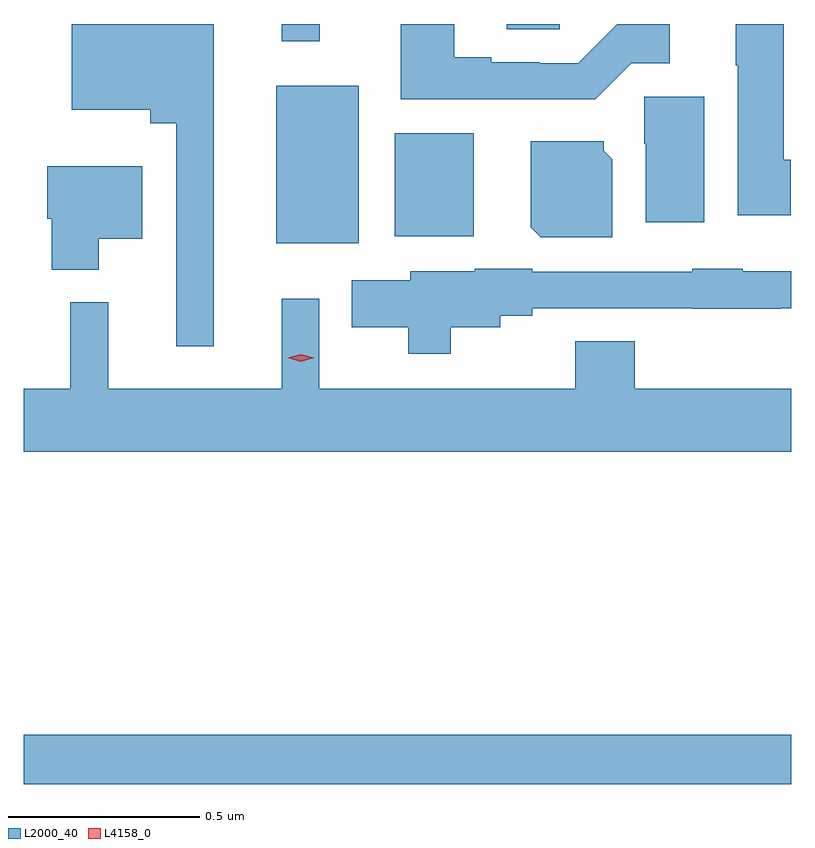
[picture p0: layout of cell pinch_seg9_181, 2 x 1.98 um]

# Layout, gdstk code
import gdstk
lib = gdstk.Library(unit=1e-6, precision=1e-09)
def R(c, l, rs):  # rectangles x0, y0, x1, y1
    for r in rs: c.add(gdstk.rectangle(r[:2], r[2:], *l))
def P(c, l, *ps):  # polygons
    for p in ps: c.add(gdstk.Polygon(p, *l))
L2000_40 = (2000, 40)
L4158_0 = (4158, 0)

pinch_seg9_181 = lib.new_cell('pinch_seg9_181')
R(pinch_seg9_181, L2000_40, [(793.321,1212.87,795.321,1212.998), (793.979,1214.279,794.194,1214.689), (794.288,1214.297,794.494,1214.566), (793.994,1214.805,794.093,1214.85), (794.579,1214.836,794.718,1214.85)])
P(pinch_seg9_181, L2000_40, [(793.816,1214.85),(793.446,1214.85),(793.446,1214.627),(793.651,1214.627),(793.651,1214.591),(793.719,1214.591),(793.719,1214.01),(793.816,1214.01)],
  [(794.904,1214.748),(795.004,1214.748),(795.004,1214.85),(794.868,1214.85),(794.766,1214.748),(794.666,1214.748),(794.666,1214.751),(794.539,1214.751),(794.539,1214.764),(794.443,1214.764),(794.443,1214.85),(794.303,1214.85),(794.303,1214.654),(794.81,1214.654)],
  [(795.319,1214.496),(795.301,1214.496),(795.301,1214.85),(795.176,1214.85),(795.176,1214.742),(795.182,1214.742),(795.182,1214.352),(795.319,1214.352)],
  [(795.094,1214.661),(794.938,1214.661),(794.938,1214.538),(794.942,1214.538),(794.942,1214.334),(795.094,1214.334)],
  [(794.854,1214.498),(794.832,1214.52),(794.832,1214.545),(794.642,1214.545),(794.642,1214.32),(794.668,1214.294),(794.854,1214.294)],
  [(793.516,1214.291),(793.63,1214.291),(793.63,1214.479),(793.382,1214.479),(793.382,1214.343),(793.394,1214.343),(793.394,1214.21),(793.516,1214.21)],
  [(794.434,1214.06),(794.563,1214.06),(794.563,1214.09),(794.646,1214.09),(794.646,1214.109),(795.063,1214.109),(795.063,1214.108),(795.295,1214.108),(795.295,1214.109),(795.321,1214.109),(795.321,1214.206),(795.195,1214.206),(795.195,1214.212),(795.063,1214.212),(795.063,1214.205),(794.646,1214.205),(794.646,1214.212),(794.496,1214.212),(794.496,1214.206),(794.328,1214.206),(794.328,1214.182),(794.176,1214.182),(794.176,1214.06),(794.323,1214.06),(794.323,1213.991),(794.434,1213.991)],
  [(795.321,1213.9),(794.913,1213.9),(794.913,1214.024),(794.758,1214.024),(794.758,1213.9),(794.091,1213.9),(794.091,1214.134),(793.994,1214.134),(793.994,1213.9),(793.541,1213.9),(793.541,1214.125),(793.442,1214.125),(793.442,1213.9),(793.321,1213.9),(793.321,1213.736),(795.321,1213.736)])
P(pinch_seg9_181, L4158_0, [(794.043,1213.97),(794.009,1213.981),(794.009,1213.981),(794.009,1213.981),(794.043,1213.99),(794.078,1213.98),(794.078,1213.98),(794.078,1213.98)])

lib.write_gds('pinch_seg9_181.gds')
